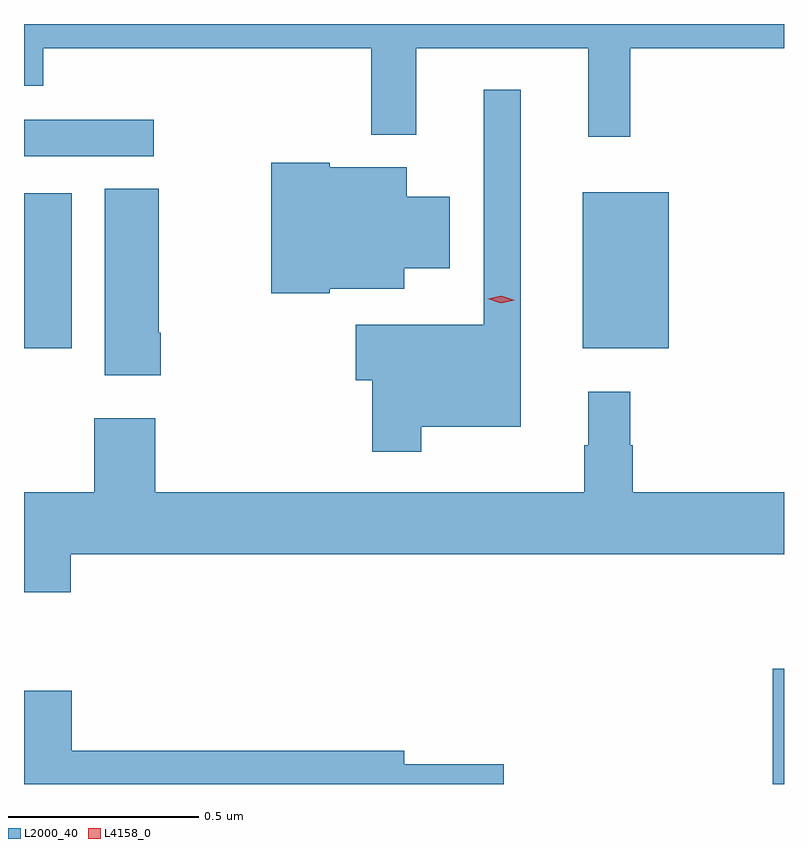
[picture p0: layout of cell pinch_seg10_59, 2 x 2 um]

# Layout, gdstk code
import gdstk
lib = gdstk.Library(unit=1e-6, precision=1e-09)
def R(c, l, rs):  # rectangles x0, y0, x1, y1
    for r in rs: c.add(gdstk.rectangle(r[:2], r[2:], *l))
def P(c, l, *ps):  # polygons
    for p in ps: c.add(gdstk.Polygon(p, *l))
L2000_40 = (2000, 40)
L4158_0 = (4158, 0)

pinch_seg10_59 = lib.new_cell('pinch_seg10_59')
R(pinch_seg10_59, L2000_40, [(841.544,1310.368,841.573,1310.671), (839.573,1311.515,839.698,1311.922), (841.043,1311.515,841.27,1311.925), (839.573,1312.02,839.914,1312.116)])
P(pinch_seg10_59, L2000_40, [(841.168,1312.304),(841.573,1312.304),(841.573,1312.368),(839.573,1312.368),(839.573,1312.205),(839.624,1312.205),(839.624,1312.304),(840.487,1312.304),(840.487,1312.076),(840.605,1312.076),(840.605,1312.304),(841.058,1312.304),(841.058,1312.071),(841.168,1312.071)],
  [(840.619,1311.308),(840.88,1311.308),(840.88,1312.195),(840.783,1312.195),(840.783,1311.577),(840.446,1311.577),(840.446,1311.43),(840.49,1311.43),(840.49,1311.243),(840.619,1311.243)],
  [(840.378,1311.671),(840.574,1311.671),(840.574,1311.725),(840.694,1311.725),(840.694,1311.913),(840.58,1311.913),(840.58,1311.991),(840.378,1311.991),(840.378,1312.003),(840.224,1312.003),(840.224,1311.659),(840.378,1311.659)],
  [(839.933,1311.556),(839.928,1311.556),(839.928,1311.935),(839.786,1311.935),(839.786,1311.444),(839.933,1311.444)],
  [(839.696,1310.972),(841.573,1310.972),(841.573,1311.136),(841.175,1311.136),(841.175,1311.26),(841.168,1311.26),(841.168,1311.4),(841.058,1311.4),(841.058,1311.26),(841.047,1311.26),(841.047,1311.136),(839.918,1311.136),(839.918,1311.331),(839.758,1311.331),(839.758,1311.136),(839.573,1311.136),(839.573,1310.873),(839.696,1310.873)],
  [(840.835,1310.42),(840.574,1310.42),(840.574,1310.456),(839.698,1310.456),(839.698,1310.614),(839.573,1310.614),(839.573,1310.368),(840.835,1310.368)])
P(pinch_seg10_59, L4158_0, [(840.828,1311.633),(840.793,1311.645),(840.793,1311.645),(840.793,1311.645),(840.829,1311.653),(840.864,1311.641),(840.864,1311.641),(840.864,1311.641)])

lib.write_gds('pinch_seg10_59.gds')
